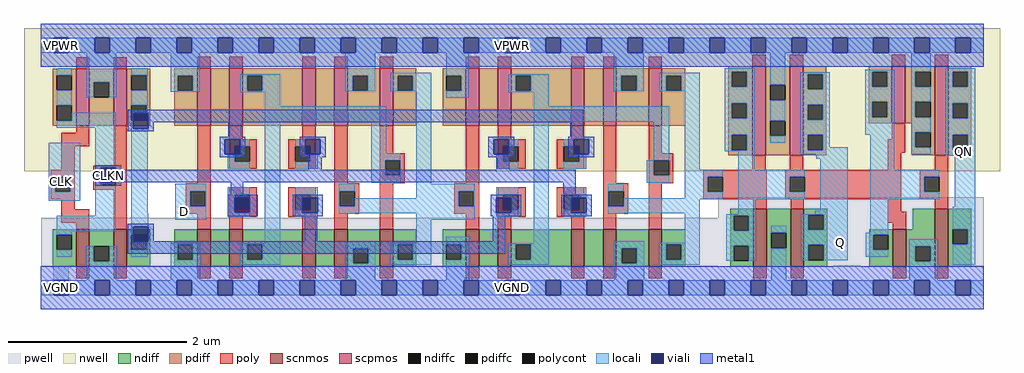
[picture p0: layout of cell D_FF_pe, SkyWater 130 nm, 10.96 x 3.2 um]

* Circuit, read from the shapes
.subckt D_FF_pe CLK VNB VPB VPWR VGND D Q QN
XM1 VGND CLK CLKN VNB sky130_fd_pr__nfet_01v8 w=0.42 l=0.15
XM2 n1 CLKN VGND VNB sky130_fd_pr__nfet_01v8 w=0.42 l=0.15
XM3 n2 D VGND VNB sky130_fd_pr__nfet_01v8 w=0.42 l=0.15
XM4 n3 CLKN n2 VNB sky130_fd_pr__nfet_01v8 w=0.42 l=0.15
XM5 n4 n1 n3 VNB sky130_fd_pr__nfet_01v8 w=0.42 l=0.15
XM6 VGND n5 n4 VNB sky130_fd_pr__nfet_01v8 w=0.42 l=0.15
XM7 n5 n3 VGND VNB sky130_fd_pr__nfet_01v8 w=0.42 l=0.15
XM8 n6 n5 VGND VNB sky130_fd_pr__nfet_01v8 w=0.42 l=0.15
XM9 n7 n1 n6 VNB sky130_fd_pr__nfet_01v8 w=0.42 l=0.15
XM10 n8 CLKN n7 VNB sky130_fd_pr__nfet_01v8 w=0.42 l=0.15
XM11 VGND n9 n8 VNB sky130_fd_pr__nfet_01v8 w=0.42 l=0.15
XM12 n9 n7 VGND VNB sky130_fd_pr__nfet_01v8 w=0.42 l=0.15
XM13 VGND n9 n10 VNB sky130_fd_pr__nfet_01v8 w=0.65 l=0.15
XM14 Q n10 VGND VNB sky130_fd_pr__nfet_01v8 w=0.65 l=0.15
XM15 VGND n10 n11 VNB sky130_fd_pr__nfet_01v8 w=0.42 l=0.15
XM16 QN n11 VGND VNB sky130_fd_pr__nfet_01v8 w=0.65 l=0.15
XM17 VPWR CLK CLKN VPB sky130_fd_pr__pfet_01v8 w=0.64 l=0.15
XM18 n1 CLKN VPWR VPB sky130_fd_pr__pfet_01v8 w=0.64 l=0.15
XM19 n12 D VPWR VPB sky130_fd_pr__pfet_01v8 w=0.64 l=0.15
XM20 n3 n1 n12 VPB sky130_fd_pr__pfet_01v8 w=0.64 l=0.15
XM21 n13 CLKN n3 VPB sky130_fd_pr__pfet_01v8 w=0.64 l=0.15
XM22 VPWR n5 n13 VPB sky130_fd_pr__pfet_01v8 w=0.64 l=0.15
XM23 n5 n3 VPWR VPB sky130_fd_pr__pfet_01v8 w=0.64 l=0.15
XM24 n14 n5 VPWR VPB sky130_fd_pr__pfet_01v8 w=0.64 l=0.15
XM25 n7 CLKN n14 VPB sky130_fd_pr__pfet_01v8 w=0.64 l=0.15
XM26 n15 n1 n7 VPB sky130_fd_pr__pfet_01v8 w=0.64 l=0.15
XM27 VPWR n9 n15 VPB sky130_fd_pr__pfet_01v8 w=0.64 l=0.15
XM28 n9 n7 VPWR VPB sky130_fd_pr__pfet_01v8 w=0.64 l=0.15
XM29 VPWR n9 n10 VPB sky130_fd_pr__pfet_01v8 w=1 l=0.15
XM30 Q n10 VPWR VPB sky130_fd_pr__pfet_01v8 w=1 l=0.15
XM31 VPWR n10 n11 VPB sky130_fd_pr__pfet_01v8 w=0.64 l=0.15
XM32 QN n11 VPWR VPB sky130_fd_pr__pfet_01v8 w=1 l=0.15
.ends

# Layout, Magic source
magic
tech sky130A
magscale 1 2
<< nwell >>
rect -38 261 2153 582
<< pwell >>
rect 1521 157 2116 203
rect 1 48 2116 157
rect 28 21 62 48
rect 1521 47 2074 48
rect 28 17 63 21
rect 28 -17 62 17
<< scnmos >>
rect 79 47 109 131
rect 163 47 193 131
rect 351 47 381 131
rect 423 47 453 131
rect 587 47 617 131
rect 659 47 689 131
rect 761 47 791 131
rect 954 47 984 131
rect 1026 47 1056 131
rect 1190 47 1220 131
rect 1262 47 1292 131
rect 1364 47 1394 131
rect 1599 47 1629 177
rect 1683 47 1713 177
rect 1912 47 1942 131
rect 2007 47 2037 177
<< scpmos >>
rect 79 363 109 491
rect 163 363 193 491
rect 351 364 381 492
rect 423 364 453 492
rect 587 364 617 492
rect 659 364 689 492
rect 761 364 791 492
rect 954 364 984 492
rect 1026 364 1056 492
rect 1190 364 1220 492
rect 1262 364 1292 492
rect 1364 364 1394 492
rect 1597 297 1627 497
rect 1681 297 1711 497
rect 1910 369 1940 497
rect 2007 297 2037 497
<< ndiff >>
rect 1547 162 1599 177
rect 27 119 79 131
rect 27 85 35 119
rect 69 85 79 119
rect 27 47 79 85
rect 109 93 163 131
rect 109 59 119 93
rect 153 59 163 93
rect 109 47 163 59
rect 193 119 245 131
rect 193 85 203 119
rect 237 85 245 119
rect 193 47 245 85
rect 299 97 351 131
rect 299 63 307 97
rect 341 63 351 97
rect 299 47 351 63
rect 381 47 423 131
rect 453 97 587 131
rect 453 63 463 97
rect 497 63 587 97
rect 453 47 587 63
rect 617 47 659 131
rect 689 89 761 131
rect 689 55 701 89
rect 735 55 761 89
rect 689 47 761 55
rect 791 97 843 131
rect 791 63 801 97
rect 835 63 843 97
rect 791 47 843 63
rect 902 97 954 131
rect 902 63 910 97
rect 944 63 954 97
rect 902 47 954 63
rect 984 47 1026 131
rect 1056 97 1190 131
rect 1056 63 1066 97
rect 1100 63 1190 97
rect 1056 47 1190 63
rect 1220 47 1262 131
rect 1292 89 1364 131
rect 1292 55 1304 89
rect 1338 55 1364 89
rect 1292 47 1364 55
rect 1394 97 1446 131
rect 1394 63 1404 97
rect 1438 63 1446 97
rect 1394 47 1446 63
rect 1547 128 1555 162
rect 1589 128 1599 162
rect 1547 94 1599 128
rect 1547 60 1555 94
rect 1589 60 1599 94
rect 1547 47 1599 60
rect 1629 123 1683 177
rect 1629 89 1639 123
rect 1673 89 1683 123
rect 1629 47 1683 89
rect 1713 164 1765 177
rect 1713 130 1723 164
rect 1757 130 1765 164
rect 1957 131 2007 177
rect 1713 96 1765 130
rect 1713 62 1723 96
rect 1757 62 1765 96
rect 1713 47 1765 62
rect 1860 119 1912 131
rect 1860 85 1868 119
rect 1902 85 1912 119
rect 1860 47 1912 85
rect 1942 93 2007 131
rect 1942 59 1963 93
rect 1997 59 2007 93
rect 1942 47 2007 59
rect 2037 131 2089 177
rect 2037 97 2047 131
rect 2081 97 2089 131
rect 2037 47 2089 97
<< pdiff >>
rect 27 477 79 491
rect 27 443 35 477
rect 69 443 79 477
rect 27 409 79 443
rect 27 375 35 409
rect 69 375 79 409
rect 27 363 79 375
rect 109 461 163 491
rect 109 427 119 461
rect 153 427 163 461
rect 109 363 163 427
rect 193 477 245 491
rect 193 443 203 477
rect 237 443 245 477
rect 193 409 245 443
rect 193 375 203 409
rect 237 375 245 409
rect 193 363 245 375
rect 299 476 351 492
rect 299 442 307 476
rect 341 442 351 476
rect 299 364 351 442
rect 381 364 423 492
rect 453 476 587 492
rect 453 442 463 476
rect 497 442 587 476
rect 453 364 587 442
rect 617 364 659 492
rect 689 476 761 492
rect 689 442 700 476
rect 734 442 761 476
rect 689 364 761 442
rect 791 476 843 492
rect 791 442 801 476
rect 835 442 843 476
rect 791 364 843 442
rect 902 476 954 492
rect 902 442 910 476
rect 944 442 954 476
rect 902 364 954 442
rect 984 364 1026 492
rect 1056 476 1190 492
rect 1056 442 1066 476
rect 1100 442 1190 476
rect 1056 364 1190 442
rect 1220 364 1262 492
rect 1292 476 1364 492
rect 1292 442 1303 476
rect 1337 442 1364 476
rect 1292 364 1364 442
rect 1394 476 1446 492
rect 1394 442 1404 476
rect 1438 442 1446 476
rect 1394 364 1446 442
rect 1543 485 1597 497
rect 1543 451 1551 485
rect 1585 451 1597 485
rect 1543 414 1597 451
rect 1543 380 1551 414
rect 1585 380 1597 414
rect 1543 343 1597 380
rect 1543 309 1551 343
rect 1585 309 1597 343
rect 1543 297 1597 309
rect 1627 455 1681 497
rect 1627 421 1637 455
rect 1671 421 1681 455
rect 1627 375 1681 421
rect 1627 341 1637 375
rect 1671 341 1681 375
rect 1627 297 1681 341
rect 1711 479 1763 497
rect 1711 445 1721 479
rect 1755 445 1763 479
rect 1711 411 1763 445
rect 1711 377 1721 411
rect 1755 377 1763 411
rect 1711 343 1763 377
rect 1858 485 1910 497
rect 1858 451 1866 485
rect 1900 451 1910 485
rect 1858 417 1910 451
rect 1858 383 1866 417
rect 1900 383 1910 417
rect 1858 369 1910 383
rect 1940 485 2007 497
rect 1940 451 1963 485
rect 1997 451 2007 485
rect 1940 417 2007 451
rect 1940 383 1963 417
rect 1997 383 2007 417
rect 1940 369 2007 383
rect 1711 309 1721 343
rect 1755 309 1763 343
rect 1711 297 1763 309
rect 1955 349 2007 369
rect 1955 315 1963 349
rect 1997 315 2007 349
rect 1955 297 2007 315
rect 2037 485 2089 497
rect 2037 451 2047 485
rect 2081 451 2089 485
rect 2037 414 2089 451
rect 2037 380 2047 414
rect 2081 380 2089 414
rect 2037 343 2089 380
rect 2037 309 2047 343
rect 2081 309 2089 343
rect 2037 297 2089 309
<< ndiffc >>
rect 35 85 69 119
rect 119 59 153 93
rect 203 85 237 119
rect 307 63 341 97
rect 463 63 497 97
rect 701 55 735 89
rect 801 63 835 97
rect 910 63 944 97
rect 1066 63 1100 97
rect 1304 55 1338 89
rect 1404 63 1438 97
rect 1555 128 1589 162
rect 1555 60 1589 94
rect 1639 89 1673 123
rect 1723 130 1757 164
rect 1723 62 1757 96
rect 1868 85 1902 119
rect 1963 59 1997 93
rect 2047 97 2081 131
<< pdiffc >>
rect 35 443 69 477
rect 35 375 69 409
rect 119 427 153 461
rect 203 443 237 477
rect 203 375 237 409
rect 307 442 341 476
rect 463 442 497 476
rect 700 442 734 476
rect 801 442 835 476
rect 910 442 944 476
rect 1066 442 1100 476
rect 1303 442 1337 476
rect 1404 442 1438 476
rect 1551 451 1585 485
rect 1551 380 1585 414
rect 1551 309 1585 343
rect 1637 421 1671 455
rect 1637 341 1671 375
rect 1721 445 1755 479
rect 1721 377 1755 411
rect 1866 451 1900 485
rect 1866 383 1900 417
rect 1963 451 1997 485
rect 1963 383 1997 417
rect 1721 309 1755 343
rect 1963 315 1997 349
rect 2047 451 2081 485
rect 2047 380 2081 414
rect 2047 309 2081 343
<< poly >>
rect 79 491 109 517
rect 163 491 193 517
rect 351 492 381 518
rect 423 492 453 518
rect 587 492 617 518
rect 659 492 689 518
rect 761 492 791 518
rect 954 492 984 518
rect 1026 492 1056 518
rect 1190 492 1220 518
rect 1262 492 1292 518
rect 1364 492 1394 518
rect 1597 497 1627 523
rect 1681 497 1711 523
rect 1910 497 1940 523
rect 2007 497 2037 523
rect 79 348 109 363
rect 46 318 109 348
rect 46 265 76 318
rect 163 274 193 363
rect 22 249 76 265
rect 22 215 32 249
rect 66 215 76 249
rect 118 264 193 274
rect 118 230 134 264
rect 168 230 193 264
rect 351 234 381 364
rect 423 333 453 364
rect 587 333 617 364
rect 423 317 485 333
rect 423 283 435 317
rect 469 283 485 317
rect 423 267 485 283
rect 555 317 617 333
rect 555 283 571 317
rect 605 283 617 317
rect 555 267 617 283
rect 118 220 193 230
rect 22 199 76 215
rect 46 176 76 199
rect 46 146 109 176
rect 79 131 109 146
rect 163 131 193 220
rect 325 217 381 234
rect 659 234 689 364
rect 761 302 791 364
rect 761 286 817 302
rect 761 252 773 286
rect 807 252 817 286
rect 761 234 817 252
rect 954 234 984 364
rect 1026 333 1056 364
rect 1190 333 1220 364
rect 1026 317 1088 333
rect 1026 283 1038 317
rect 1072 283 1088 317
rect 1026 267 1088 283
rect 1158 317 1220 333
rect 1158 283 1174 317
rect 1208 283 1220 317
rect 1158 267 1220 283
rect 325 183 335 217
rect 369 183 381 217
rect 325 166 381 183
rect 351 131 381 166
rect 423 209 485 225
rect 423 175 435 209
rect 469 175 485 209
rect 423 159 485 175
rect 555 209 617 225
rect 555 175 571 209
rect 605 175 617 209
rect 555 159 617 175
rect 423 131 453 159
rect 587 131 617 159
rect 659 217 715 234
rect 659 183 671 217
rect 705 183 715 217
rect 659 166 715 183
rect 659 131 689 166
rect 761 131 791 234
rect 928 217 984 234
rect 1262 234 1292 364
rect 1364 302 1394 364
rect 1364 286 1420 302
rect 1910 333 1940 369
rect 1901 303 1940 333
rect 1364 252 1376 286
rect 1410 252 1420 286
rect 1597 265 1627 297
rect 1681 265 1711 297
rect 1901 265 1931 303
rect 2007 265 2037 297
rect 1364 234 1420 252
rect 1487 249 1629 265
rect 928 183 938 217
rect 972 183 984 217
rect 928 166 984 183
rect 954 131 984 166
rect 1026 209 1088 225
rect 1026 175 1038 209
rect 1072 175 1088 209
rect 1026 159 1088 175
rect 1158 209 1220 225
rect 1158 175 1174 209
rect 1208 175 1220 209
rect 1158 159 1220 175
rect 1026 131 1056 159
rect 1190 131 1220 159
rect 1262 217 1318 234
rect 1262 183 1274 217
rect 1308 183 1318 217
rect 1262 166 1318 183
rect 1262 131 1292 166
rect 1364 131 1394 234
rect 1487 215 1497 249
rect 1531 215 1629 249
rect 1487 199 1629 215
rect 1671 249 1931 265
rect 1671 215 1681 249
rect 1715 215 1931 249
rect 1671 199 1931 215
rect 1973 249 2037 265
rect 1973 215 1983 249
rect 2017 215 2037 249
rect 1973 199 2037 215
rect 1599 177 1629 199
rect 1683 177 1713 199
rect 1901 170 1931 199
rect 2007 177 2037 199
rect 1901 146 1942 170
rect 1912 131 1942 146
rect 79 21 109 47
rect 163 21 193 47
rect 351 21 381 47
rect 423 21 453 47
rect 587 21 617 47
rect 659 21 689 47
rect 761 21 791 47
rect 954 21 984 47
rect 1026 21 1056 47
rect 1190 21 1220 47
rect 1262 21 1292 47
rect 1364 21 1394 47
rect 1599 21 1629 47
rect 1683 21 1713 47
rect 1912 21 1942 47
rect 2007 21 2037 47
<< polycont >>
rect 32 215 66 249
rect 134 230 168 264
rect 435 283 469 317
rect 571 283 605 317
rect 773 252 807 286
rect 1038 283 1072 317
rect 1174 283 1208 317
rect 335 183 369 217
rect 435 175 469 209
rect 571 175 605 209
rect 671 183 705 217
rect 1376 252 1410 286
rect 938 183 972 217
rect 1038 175 1072 209
rect 1174 175 1208 209
rect 1274 183 1308 217
rect 1497 215 1531 249
rect 1681 215 1715 249
rect 1983 215 2017 249
<< locali >>
rect 0 527 29 561
rect 63 527 121 561
rect 155 527 213 561
rect 247 527 305 561
rect 339 527 397 561
rect 431 527 489 561
rect 523 527 581 561
rect 615 527 673 561
rect 707 527 765 561
rect 799 527 857 561
rect 891 527 949 561
rect 983 527 1041 561
rect 1075 527 1133 561
rect 1167 527 1225 561
rect 1259 527 1317 561
rect 1351 527 1409 561
rect 1443 527 1501 561
rect 1535 527 1593 561
rect 1627 527 1685 561
rect 1719 527 1777 561
rect 1811 527 1869 561
rect 1903 527 1961 561
rect 1995 527 2053 561
rect 2087 527 2116 561
rect 35 477 69 493
rect 35 409 69 443
rect 103 461 169 527
rect 103 427 119 461
rect 153 427 169 461
rect 203 477 240 493
rect 237 443 240 477
rect 203 409 240 443
rect 291 476 357 527
rect 291 442 307 476
rect 341 442 357 476
rect 291 440 357 442
rect 447 476 537 479
rect 447 442 463 476
rect 497 442 537 476
rect 447 439 537 442
rect 683 476 750 527
rect 683 442 700 476
rect 734 442 750 476
rect 683 441 750 442
rect 785 476 876 482
rect 785 442 801 476
rect 835 442 876 476
rect 785 441 876 442
rect 69 375 168 393
rect 35 359 168 375
rect 18 249 88 325
rect 18 215 32 249
rect 66 215 88 249
rect 18 195 88 215
rect 122 269 168 359
rect 122 230 134 269
rect 122 161 168 230
rect 35 127 168 161
rect 237 393 240 409
rect 503 407 537 439
rect 237 391 241 393
rect 203 357 207 375
rect 203 351 241 357
rect 503 373 775 407
rect 203 167 240 351
rect 447 317 469 333
rect 419 283 435 299
rect 419 267 469 283
rect 302 217 371 233
rect 302 183 335 217
rect 369 183 371 217
rect 203 137 241 167
rect 302 152 371 183
rect 419 209 469 225
rect 419 169 435 209
rect 419 159 469 169
rect 35 119 69 127
rect 203 119 207 137
rect 35 69 69 85
rect 103 59 119 93
rect 153 59 169 93
rect 237 85 240 103
rect 203 69 240 85
rect 291 97 358 101
rect 503 100 537 373
rect 571 317 593 333
rect 741 302 775 373
rect 605 283 621 299
rect 571 267 621 283
rect 741 286 807 302
rect 741 252 773 286
rect 807 252 808 286
rect 741 236 808 252
rect 842 233 876 441
rect 910 476 960 527
rect 944 442 960 476
rect 910 426 960 442
rect 1050 476 1140 479
rect 1050 442 1066 476
rect 1100 442 1140 476
rect 1050 439 1140 442
rect 1286 476 1353 527
rect 1535 485 1603 493
rect 1286 442 1303 476
rect 1337 442 1353 476
rect 1286 441 1353 442
rect 1388 476 1479 482
rect 1388 442 1404 476
rect 1438 442 1479 476
rect 1388 441 1479 442
rect 1106 407 1140 439
rect 1106 373 1410 407
rect 1050 317 1072 333
rect 1022 283 1038 299
rect 1022 267 1072 283
rect 571 209 621 225
rect 605 202 621 209
rect 571 168 587 175
rect 571 159 621 168
rect 669 217 705 233
rect 669 183 671 217
rect 842 217 974 233
rect 842 201 938 217
rect 705 183 938 201
rect 972 183 974 217
rect 669 167 974 183
rect 669 166 705 167
rect 842 152 974 167
rect 1022 209 1072 225
rect 1022 202 1038 209
rect 1056 168 1072 175
rect 1022 159 1072 168
rect 103 17 169 59
rect 291 63 307 97
rect 341 63 358 97
rect 291 17 358 63
rect 447 97 537 100
rect 447 63 463 97
rect 497 63 537 97
rect 447 51 537 63
rect 684 89 751 104
rect 842 101 876 152
rect 684 55 701 89
rect 735 55 751 89
rect 684 17 751 55
rect 785 97 876 101
rect 785 63 801 97
rect 835 63 876 97
rect 785 51 876 63
rect 910 97 961 114
rect 1106 100 1140 373
rect 1174 317 1196 333
rect 1208 283 1224 299
rect 1376 286 1410 373
rect 1174 267 1224 283
rect 1360 252 1376 286
rect 1410 252 1411 286
rect 1360 236 1411 252
rect 1445 265 1479 441
rect 1535 451 1551 485
rect 1585 451 1603 485
rect 1535 414 1603 451
rect 1535 380 1551 414
rect 1585 380 1603 414
rect 1535 343 1603 380
rect 1535 309 1551 343
rect 1585 309 1603 343
rect 1637 455 1671 527
rect 1850 485 1916 489
rect 1637 375 1671 421
rect 1637 325 1671 341
rect 1705 479 1771 484
rect 1705 445 1721 479
rect 1755 445 1771 479
rect 1705 411 1771 445
rect 1705 377 1721 411
rect 1755 377 1771 411
rect 1705 343 1771 377
rect 1850 451 1866 485
rect 1900 451 1916 485
rect 1850 417 1916 451
rect 1850 383 1866 417
rect 1900 383 1916 417
rect 1850 343 1916 383
rect 1535 306 1603 309
rect 1565 265 1603 306
rect 1705 309 1721 343
rect 1755 315 1771 343
rect 1755 309 1811 315
rect 1705 299 1811 309
rect 1740 289 1811 299
rect 1445 249 1531 265
rect 1174 209 1224 225
rect 1208 202 1224 209
rect 1174 168 1190 175
rect 1174 159 1224 168
rect 1272 217 1308 233
rect 1272 183 1274 217
rect 1445 215 1497 249
rect 1445 201 1531 215
rect 1308 199 1531 201
rect 1565 249 1715 265
rect 1565 215 1681 249
rect 1565 199 1715 215
rect 1308 183 1479 199
rect 1272 167 1479 183
rect 1272 166 1308 167
rect 944 63 961 97
rect 910 17 961 63
rect 1050 97 1140 100
rect 1050 63 1066 97
rect 1100 63 1140 97
rect 1050 51 1140 63
rect 1287 89 1354 104
rect 1445 101 1479 167
rect 1565 165 1605 199
rect 1749 173 1811 289
rect 1738 165 1811 173
rect 1287 55 1304 89
rect 1338 55 1354 89
rect 1287 17 1354 55
rect 1388 97 1479 101
rect 1388 63 1404 97
rect 1438 63 1479 97
rect 1388 51 1479 63
rect 1539 162 1605 165
rect 1539 128 1555 162
rect 1589 128 1605 162
rect 1707 164 1811 165
rect 1539 94 1605 128
rect 1539 60 1555 94
rect 1589 60 1605 94
rect 1639 123 1673 139
rect 1639 17 1673 89
rect 1707 130 1723 164
rect 1757 130 1811 164
rect 1707 96 1811 130
rect 1862 265 1916 343
rect 1954 485 1997 527
rect 1954 451 1963 485
rect 1954 417 1997 451
rect 1954 383 1963 417
rect 1954 349 1997 383
rect 1954 315 1963 349
rect 1954 299 1997 315
rect 2031 485 2098 493
rect 2031 451 2047 485
rect 2081 451 2098 485
rect 2031 414 2098 451
rect 2031 380 2047 414
rect 2081 380 2098 414
rect 2031 343 2098 380
rect 2031 309 2047 343
rect 2081 309 2098 343
rect 2031 296 2098 309
rect 1862 249 2017 265
rect 1862 215 1983 249
rect 1862 199 2017 215
rect 1862 123 1902 199
rect 2051 182 2098 296
rect 1707 62 1723 96
rect 1757 62 1811 96
rect 1852 119 1902 123
rect 1852 85 1868 119
rect 2047 131 2098 182
rect 1852 69 1902 85
rect 1949 93 2013 109
rect 1707 61 1811 62
rect 1949 59 1963 93
rect 1997 59 2013 93
rect 1949 17 2013 59
rect 2081 97 2098 131
rect 2047 51 2098 97
rect 0 -17 29 17
rect 63 -17 121 17
rect 155 -17 213 17
rect 247 -17 305 17
rect 339 -17 397 17
rect 431 -17 489 17
rect 523 -17 581 17
rect 615 -17 673 17
rect 707 -17 765 17
rect 799 -17 857 17
rect 891 -17 949 17
rect 983 -17 1041 17
rect 1075 -17 1133 17
rect 1167 -17 1225 17
rect 1259 -17 1317 17
rect 1351 -17 1409 17
rect 1443 -17 1501 17
rect 1535 -17 1593 17
rect 1627 -17 1685 17
rect 1719 -17 1777 17
rect 1811 -17 1869 17
rect 1903 -17 1961 17
rect 1995 -17 2053 17
rect 2087 -17 2116 17
<< viali >>
rect 29 527 63 561
rect 121 527 155 561
rect 213 527 247 561
rect 305 527 339 561
rect 397 527 431 561
rect 489 527 523 561
rect 581 527 615 561
rect 673 527 707 561
rect 765 527 799 561
rect 857 527 891 561
rect 949 527 983 561
rect 1041 527 1075 561
rect 1133 527 1167 561
rect 1225 527 1259 561
rect 1317 527 1351 561
rect 1409 527 1443 561
rect 1501 527 1535 561
rect 1593 527 1627 561
rect 1685 527 1719 561
rect 1777 527 1811 561
rect 1869 527 1903 561
rect 1961 527 1995 561
rect 2053 527 2087 561
rect 134 264 168 269
rect 134 235 168 264
rect 207 375 237 391
rect 237 375 241 391
rect 207 357 241 375
rect 413 317 447 333
rect 413 299 435 317
rect 435 299 447 317
rect 435 175 469 203
rect 435 169 469 175
rect 207 119 241 137
rect 207 103 237 119
rect 237 103 241 119
rect 593 317 627 333
rect 593 299 605 317
rect 605 299 627 317
rect 1016 317 1050 333
rect 1016 299 1038 317
rect 1038 299 1050 317
rect 587 175 605 202
rect 605 175 621 202
rect 587 168 621 175
rect 1022 175 1038 202
rect 1038 175 1056 202
rect 1022 168 1056 175
rect 1196 317 1230 333
rect 1196 299 1208 317
rect 1208 299 1230 317
rect 1190 175 1208 202
rect 1208 175 1224 202
rect 1190 168 1224 175
rect 29 -17 63 17
rect 121 -17 155 17
rect 213 -17 247 17
rect 305 -17 339 17
rect 397 -17 431 17
rect 489 -17 523 17
rect 581 -17 615 17
rect 673 -17 707 17
rect 765 -17 799 17
rect 857 -17 891 17
rect 949 -17 983 17
rect 1041 -17 1075 17
rect 1133 -17 1167 17
rect 1225 -17 1259 17
rect 1317 -17 1351 17
rect 1409 -17 1443 17
rect 1501 -17 1535 17
rect 1593 -17 1627 17
rect 1685 -17 1719 17
rect 1777 -17 1811 17
rect 1869 -17 1903 17
rect 1961 -17 1995 17
rect 2053 -17 2087 17
<< metal1 >>
rect 0 561 2116 592
rect 0 527 29 561
rect 63 527 121 561
rect 155 527 213 561
rect 247 527 305 561
rect 339 527 397 561
rect 431 527 489 561
rect 523 527 581 561
rect 615 527 673 561
rect 707 527 765 561
rect 799 527 857 561
rect 891 527 949 561
rect 983 527 1041 561
rect 1075 527 1133 561
rect 1167 527 1225 561
rect 1259 527 1317 561
rect 1351 527 1409 561
rect 1443 527 1501 561
rect 1535 527 1593 561
rect 1627 527 1685 561
rect 1719 527 1777 561
rect 1811 527 1869 561
rect 1903 527 1961 561
rect 1995 527 2053 561
rect 2087 527 2116 561
rect 0 496 2116 527
rect 195 391 1218 399
rect 195 357 207 391
rect 241 371 1218 391
rect 241 357 253 371
rect 195 351 253 357
rect 420 339 450 371
rect 1188 339 1218 371
rect 401 333 459 339
rect 401 299 413 333
rect 447 299 459 333
rect 401 293 459 299
rect 581 333 639 339
rect 581 299 593 333
rect 627 299 639 333
rect 581 293 639 299
rect 1004 333 1062 339
rect 1004 299 1016 333
rect 1050 299 1062 333
rect 1004 293 1062 299
rect 1184 333 1242 339
rect 1184 299 1196 333
rect 1230 299 1242 333
rect 1184 293 1242 299
rect 122 269 180 275
rect 122 235 134 269
rect 168 265 180 269
rect 600 265 630 293
rect 1023 265 1051 293
rect 168 237 1201 265
rect 168 235 180 237
rect 122 229 180 235
rect 426 209 454 237
rect 1173 209 1201 237
rect 419 203 487 209
rect 419 169 435 203
rect 469 169 487 203
rect 419 160 487 169
rect 565 202 633 209
rect 565 168 587 202
rect 621 168 633 202
rect 565 160 633 168
rect 1010 202 1078 209
rect 1010 168 1022 202
rect 1056 168 1078 202
rect 1010 160 1078 168
rect 1168 202 1236 209
rect 1168 168 1190 202
rect 1224 168 1236 202
rect 1168 160 1236 168
rect 195 137 253 144
rect 195 103 207 137
rect 241 104 253 137
rect 592 104 620 160
rect 1014 104 1042 160
rect 241 103 1042 104
rect 195 76 1042 103
rect 1780 48 1840 49
rect 0 17 2116 48
rect 0 -17 29 17
rect 63 -17 121 17
rect 155 -17 213 17
rect 247 -17 305 17
rect 339 -17 397 17
rect 431 -17 489 17
rect 523 -17 581 17
rect 615 -17 673 17
rect 707 -17 765 17
rect 799 -17 857 17
rect 891 -17 949 17
rect 983 -17 1041 17
rect 1075 -17 1133 17
rect 1167 -17 1225 17
rect 1259 -17 1317 17
rect 1351 -17 1409 17
rect 1443 -17 1501 17
rect 1535 -17 1593 17
rect 1627 -17 1685 17
rect 1719 -17 1777 17
rect 1811 -17 1869 17
rect 1903 -17 1961 17
rect 1995 -17 2053 17
rect 2087 -17 2116 17
rect 0 -48 2116 -17
<< labels >>
flabel locali s 29 221 63 255 0 FreeSans 400 0 0 0 CLK
port 1 nsew clock input
flabel metal1 0 496 2116 592 1 FreeSans 2 0 0 0 VPWR
port 10 n power bidirectional
rlabel metal1 0 -48 2116 48 1 VGND
port 11 n ground bidirectional
flabel metal1 29 -17 63 17 1 FreeSans 160 0 0 0 VGND
port 11 n ground bidirectional
flabel metal1 29 527 63 561 1 FreeSans 160 0 0 0 VPWR
port 10 n power bidirectional
flabel nwell s 28 527 62 561 0 FreeSans 200 0 0 0 VPB
port 5 nsew power bidirectional
flabel pwell s 28 -17 62 17 0 FreeSans 200 0 0 0 VNB
port 4 nsew ground bidirectional
flabel locali 1777 85 1811 119 1 FreeSans 480 0 0 0 Q
port 15 n signal output
flabel locali 2053 289 2087 323 1 FreeSans 480 0 0 0 QN
port 16 n signal output
flabel metal1 134 235 168 269 1 FreeSans 80 0 0 0 CLKN
flabel locali 305 153 339 187 1 FreeSans 320 0 0 0 D
port 14 n signal input
<< properties >>
string FIXED_BBOX 0 0 2116 544
<< end >>
